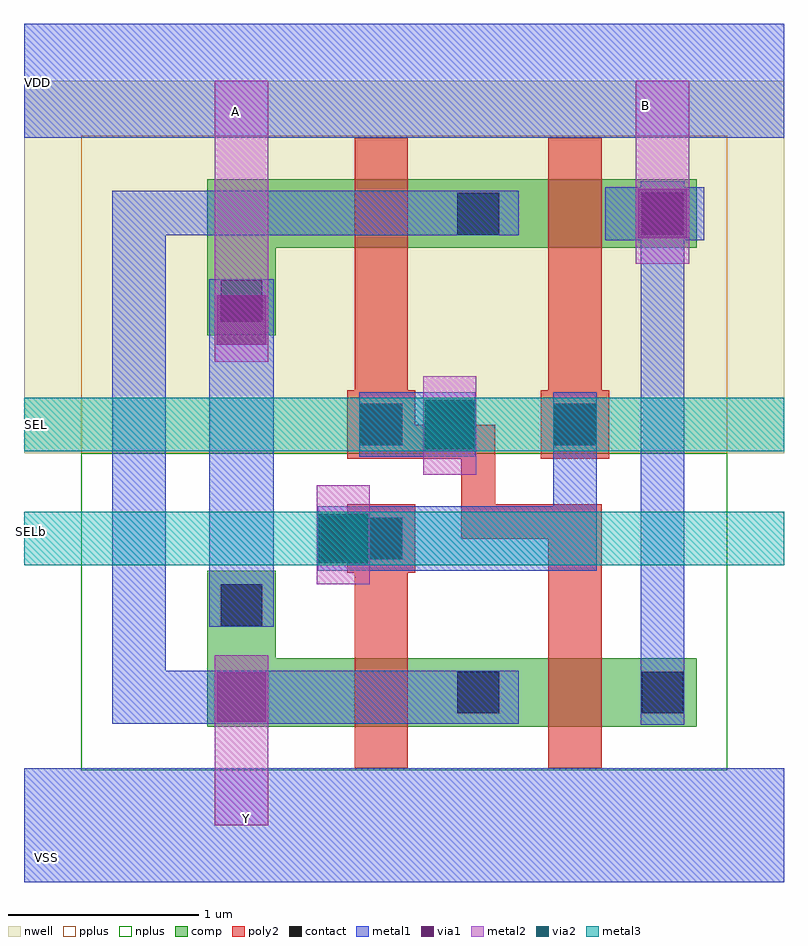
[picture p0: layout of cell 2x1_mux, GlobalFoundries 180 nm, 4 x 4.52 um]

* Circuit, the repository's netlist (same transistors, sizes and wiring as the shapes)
** sch_path: /foss/designs/engn1600-team1/CAD5/2x1_mux.sch
.subckt 2x1_mux A SEL SELb Y VDD VSS B
*.PININFO A:I B:I SEL:I Y:O VDD:B VSS:B SELb:I
M1 Y SEL B VSS nfet_03v3 L=0.28u W=0.36u nf=1 m=1
M2 Y SELb B VDD pfet_03v3 L=0.28u W=0.36u nf=1 m=1
M3 Y SELb A VSS nfet_03v3 L=0.28u W=0.36u nf=1 m=1
M4 Y SEL A VDD pfet_03v3 L=0.28u W=0.36u nf=1 m=1
.ends

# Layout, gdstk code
import gdstk
lib = gdstk.Library(unit=1e-6, precision=5e-09)
def R(c, l, rs):  # rectangles x0, y0, x1, y1
    for r in rs: c.add(gdstk.rectangle(r[:2], r[2:], *l))
nwell = (21, 0)
comp = (22, 0)
poly2 = (30, 0)
pplus = (31, 0)
nplus = (32, 0)
contact = (33, 0)
metal1 = (34, 0)
via1 = (35, 0)
metal2 = (36, 0)
via2 = (38, 0)
metal3 = (42, 0)

c_2x1_mux = lib.new_cell('2x1_mux')
R(c_2x1_mux, nwell, [(0,2.26,4,4.22)])
R(c_2x1_mux, comp, [(0.965,0.82,3.54,1.18), (0.965,1.18,1.325,1.64), (0.965,2.88,1.325,3.34), (0.965,3.34,3.54,3.7)])
R(c_2x1_mux, poly2, [(1.74,0.6,2.02,1.63), (2.76,0.6,3.04,1.99), (1.7,1.63,2.06,1.99), (2.3,1.81,2.48,2.41), (2.48,1.81,2.76,1.99), (1.7,2.23,2.06,2.59), (2.06,2.23,2.3,2.41), (2.72,2.23,3.08,2.59), (1.74,2.59,2.02,3.92), (2.76,2.59,3.04,3.92)])
R(c_2x1_mux, pplus, [(0.3,2.26,3.7,3.93)])
R(c_2x1_mux, nplus, [(0.3,0.59,3.7,2.26)])
R(c_2x1_mux, contact, [(2.28,0.89,2.5,1.11), (3.25,0.89,3.47,1.11), (1.035,1.35,1.255,1.57), (1.77,1.7,1.99,1.92), (1.77,2.3,1.99,2.52), (2.79,2.3,3.01,2.52), (1.035,2.95,1.255,3.17), (2.28,3.41,2.5,3.63), (3.25,3.41,3.47,3.63)])
R(c_2x1_mux, metal1, [(0,0,4,0.6), (3.245,0.83,3.475,3.69), (0.465,0.835,2.605,1.115), (0.465,1.115,0.745,3.405), (0.975,1.345,1.315,3.175), (1.545,1.64,2.785,1.98), (2.785,1.64,3.015,2.58), (1.765,2.24,2.375,2.58), (3.06,3.38,3.58,3.66), (0.465,3.405,2.605,3.64), (0,3.92,4,4.52)])
R(c_2x1_mux, via1, [(1.015,0.845,1.275,1.105), (1.55,1.68,1.81,1.94), (2.11,2.28,2.37,2.54), (1.015,2.83,1.275,3.09), (3.23,3.39,3.49,3.65)])
R(c_2x1_mux, metal2, [(1.005,0.3,1.285,1.195), (1.54,1.57,1.82,2.09), (2.1,2.145,2.38,2.665), (1.005,2.74,1.285,4.22), (3.22,3.255,3.5,4.22)])
R(c_2x1_mux, via2, [(1.55,1.68,1.81,1.94), (2.11,2.28,2.37,2.54)])
R(c_2x1_mux, metal3, [(0,1.67,4,1.95), (0,2.27,4,2.55)])
c_2x1_mux.add(gdstk.Label('VSS', (0.12,0.13), layer=34, texttype=10))
c_2x1_mux.add(gdstk.Label('VDD', (0.07,4.21), layer=34, texttype=10))
c_2x1_mux.add(gdstk.Label('B', (3.27,4.09), layer=36, texttype=10))
c_2x1_mux.add(gdstk.Label('A', (1.115,4.06), layer=36, texttype=10))
c_2x1_mux.add(gdstk.Label('Y', (1.17,0.335), layer=36, texttype=10))
c_2x1_mux.add(gdstk.Label('SELb', (0.04,1.845), layer=42, texttype=10))
c_2x1_mux.add(gdstk.Label('SEL', (0.065,2.41), layer=42, texttype=10))

lib.write_gds('2x1_mux.gds')
